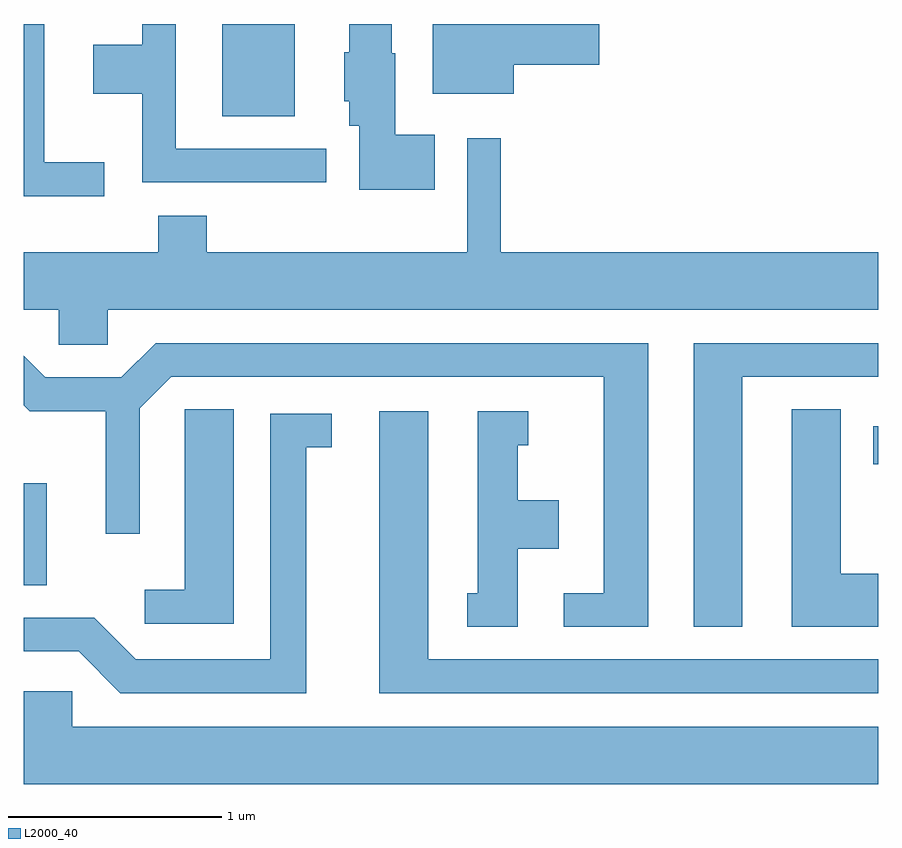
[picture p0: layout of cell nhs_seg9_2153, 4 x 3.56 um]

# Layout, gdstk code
import gdstk
lib = gdstk.Library(unit=1e-6, precision=1e-09)
def R(c, l, rs):  # rectangles x0, y0, x1, y1
    for r in rs: c.add(gdstk.rectangle(r[:2], r[2:], *l))
def P(c, l, *ps):  # polygons
    for p in ps: c.add(gdstk.Polygon(p, *l))
L2000_40 = (2000, 40)

nhs_seg9_2153 = lib.new_cell('nhs_seg9_2153')
R(nhs_seg9_2153, L2000_40, [(247.611,2043.806,247.719,2044.284), (251.586,2044.371,251.611,2044.549), (248.541,2046.001,248.879,2046.432)])
P(nhs_seg9_2153, L2000_40, [(249.534,2045.914),(249.349,2045.914),(249.349,2046.295),(249.334,2046.295),(249.334,2046.432),(249.136,2046.432),(249.136,2046.299),(249.111,2046.299),(249.111,2046.071),(249.136,2046.071),(249.136,2045.956),(249.181,2045.956),(249.181,2045.656),(249.534,2045.656)],
  [(249.904,2046.241),(250.304,2046.241),(250.304,2046.432),(249.526,2046.432),(249.526,2046.106),(249.904,2046.106)],
  [(249.028,2045.849),(248.324,2045.849),(248.324,2046.432),(248.166,2046.432),(248.166,2046.334),(247.936,2046.334),(247.936,2046.106),(248.166,2046.106),(248.166,2045.691),(249.028,2045.691)],
  [(247.988,2045.784),(247.709,2045.784),(247.709,2046.432),(247.611,2046.432),(247.611,2045.626),(247.988,2045.626)],
  [(248.004,2045.096),(251.611,2045.096),(251.611,2045.364),(249.844,2045.364),(249.844,2045.898),(249.686,2045.898),(249.686,2045.364),(248.469,2045.364),(248.469,2045.534),(248.241,2045.534),(248.241,2045.364),(247.611,2045.364),(247.611,2045.096),(247.776,2045.096),(247.776,2044.931),(248.004,2044.931)],
  [(250.974,2044.781),(251.611,2044.781),(251.611,2044.939),(250.746,2044.939),(250.746,2043.611),(250.974,2043.611)],
  [(250.534,2044.939),(248.229,2044.939),(248.069,2044.779),(247.712,2044.779),(247.611,2044.88),(247.611,2044.649),(247.639,2044.621),(247.996,2044.621),(247.996,2044.048),(248.154,2044.048),(248.154,2044.634),(248.302,2044.781),(250.326,2044.781),(250.326,2043.769),(250.138,2043.769),(250.138,2043.611),(250.534,2043.611)],
  [(248.594,2044.629),(248.366,2044.629),(248.366,2043.784),(248.178,2043.784),(248.178,2043.626),(248.594,2043.626)],
  [(251.611,2043.859),(251.434,2043.859),(251.434,2044.629),(251.206,2044.629),(251.206,2043.611),(251.611,2043.611)],
  [(249.924,2043.976),(250.114,2043.976),(250.114,2044.204),(249.924,2044.204),(249.924,2044.461),(249.973,2044.461),(249.973,2044.619),(249.736,2044.619),(249.736,2043.769),(249.688,2043.769),(249.688,2043.611),(249.924,2043.611)],
  [(251.611,2043.459),(249.504,2043.459),(249.504,2044.619),(249.276,2044.619),(249.276,2043.301),(251.611,2043.301)],
  [(248.934,2044.451),(249.053,2044.451),(249.053,2044.609),(248.766,2044.609),(248.766,2043.459),(248.137,2043.459),(247.942,2043.654),(247.611,2043.654),(247.611,2043.496),(247.869,2043.496),(248.064,2043.301),(248.934,2043.301)],
  [(251.611,2043.144),(247.839,2043.144),(247.839,2043.309),(247.611,2043.309),(247.611,2042.876),(251.611,2042.876)])

lib.write_gds('nhs_seg9_2153.gds')
